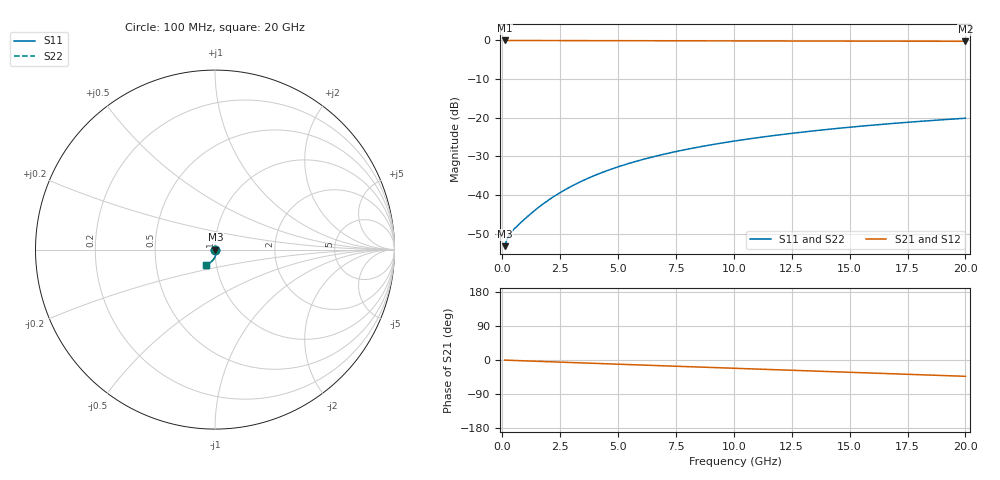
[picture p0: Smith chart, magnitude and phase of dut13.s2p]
! Touchstone file exported from HFSS 2026.1.0
!  File:  C:/ffzhzh/LocalFiles/Ansys_Project_Files/temp_val_BSMRDL_13_1782903257_13352.aedt
!  Generated:  06:55:31 PM Jul  1, 2026
!  Design:  BSMRDL
!  Project:  temp_val_BSMRDL_13_1782903257_13352
! Variables:
!  h_bsmrdl = 5.77um
!  h_ox = 20um
!  h_rdl = 5um
!  h_sub = 80um
!  h_tmrdl = 5um
!  h_tsv = 80um
!  h_via = 3um
!  l_bsmrdl = 770.84um
!  l_sub = 1170.84um
!  l_tmrdl = 200um
!  m_sub = 200um
!  pitch = 30.97um
!  r_tsv = 6um
!  s_tmrdl = 10um
!  w_bsmrdl = 26.77um
!  w_sub = 500um
!  w_tmrdl = 12um
!  x_tsv_center1 = 206um
!  x_tsv_center2 = 1003.61um
!  x_tsv_center3 = 1215.61um
!  x_tsv_center4 = 2013.22um
!  x_tsv_center5 = 2225.22um
!  x_tsv_center6 = 3022.83um
# GHz S MA R 50.000000
! Terminal data exported
! Port[1] = BSM_RDL1_1_T1
! Port[2] = BSM_RDL1_1_T2
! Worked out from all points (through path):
!   200 points, 100 MHz to 20 GHz, reference 50 ohm
!   highest |S21| = -0.02 dB at 100 MHz (marker M1); lowest = -0.2 dB at 20 GHz (marker M2)
!   group delay of S21, straight-line fit = 5.95 ps
!   lowest |S11| = -53.2 dB at 100 MHz (marker M3), VSWR 1.00, Z = 50.2 + j0.0308 ohm
!   |S11| at or under -10 dB: start of sweep to end of sweep
!   |S22| runs from -53.2 to -20.1 dB; largest |S21 - S12| = 8.1e-15
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0.1  0.002194 8.0  0.9978 -0.3  0.9978 -0.3  0.002194 8.0
! Gamma 0 0 0 0
! Port Impedance 50 0 50 0
0.2  0.002663 5.3  0.9974 -0.5  0.9974 -0.5  0.002663 5.3
0.3  0.003049 -1.4  0.9969 -0.7  0.9969 -0.7  0.003049 -1.4
0.4  0.003356 -8.5  0.9967 -1.0  0.9967 -1.0  0.003356 -8.5
0.5  0.003627 -14.9  0.9965 -1.2  0.9965 -1.2  0.003627 -14.9
0.7  0.004155 -25.5  0.9962 -1.6  0.9962 -1.6  0.004154 -25.5
1.3  0.005998 -45.1  0.9955 -3.0  0.9955 -3.0  0.005996 -45.1
1.8  0.007851 -54.0  0.9949 -4.1  0.9949 -4.1  0.007847 -54.0
2.3  0.009923 -59.8  0.9942 -5.2  0.9942 -5.2  0.009918 -59.9
2.9  0.01263 -64.9  0.9933 -6.5  0.9933 -6.5  0.01263 -65.0
3.5  0.01553 -69.0  0.9924 -7.9  0.9924 -7.9  0.01552 -69.1
4.2  0.01907 -73.0  0.9913 -9.4  0.9913 -9.4  0.01905 -73.1
5  0.02324 -77.0  0.9902 -11.1  0.9902 -11.1  0.02322 -77.1
5.9  0.02803 -81.0  0.989 -13.1  0.989 -13.1  0.02801 -81.1
6.8  0.03286 -84.6  0.9879 -15.0  0.9879 -15.0  0.03283 -84.7
8.3  0.04091 -90.0  0.9862 -18.2  0.9862 -18.2  0.04087 -90.1
10.1  0.05047 -95.7  0.9843 -22.1  0.9843 -22.1  0.05042 -95.9
11.7  0.05883 -100.4  0.9825 -25.5  0.9825 -25.5  0.05878 -100.6
13.4  0.06753 -105.0  0.9807 -29.1  0.9807 -29.1  0.06747 -105.3
15  0.07551 -109.2  0.9789 -32.5  0.9789 -32.5  0.07543 -109.5
16.7  0.08371 -113.5  0.977 -36.1  0.977 -36.1  0.08362 -113.8
20  0.09864 -121.5  0.9734 -43.1  0.9734 -43.1  0.09853 -121.9
